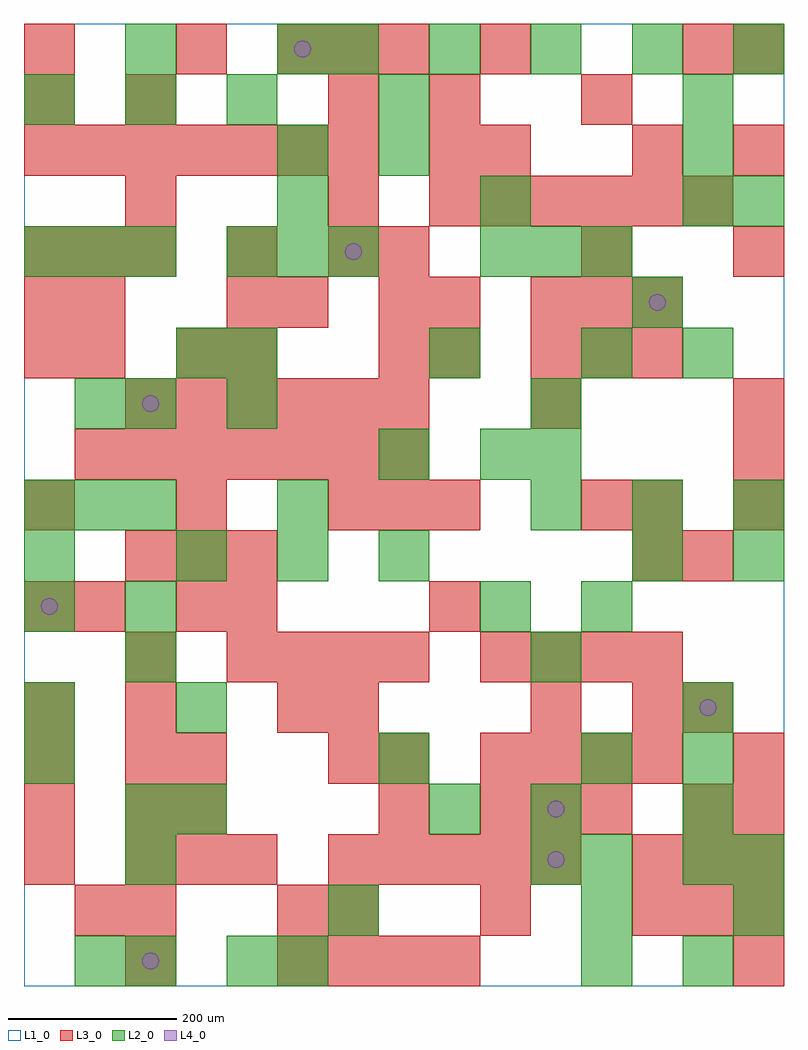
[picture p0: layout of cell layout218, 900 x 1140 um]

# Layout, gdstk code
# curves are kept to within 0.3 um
import gdstk
lib = gdstk.Library(unit=1e-6, precision=1e-09)
def R(c, l, rs):  # rectangles x0, y0, x1, y1
    for r in rs: c.add(gdstk.rectangle(r[:2], r[2:], *l))
def A(c, l, x, y, w, h, nx, ny, dx, dy):  # array of equal rectangles
    R(c, l, [(x+i*dx, y+j*dy, x+i*dx+w, y+j*dy+h) for i in range(nx) for j in range(ny)])
def P(c, l, *ps):  # polygons
    for p in ps: c.add(gdstk.Polygon(p, *l))
L1_0 = (1, 0)
L2_0 = (2, 0)
L3_0 = (3, 0)
L4_0 = (4, 0)

layout218 = lib.new_cell('layout218')
R(layout218, L1_0, [(0,0,900,1140)])
A(layout218, L2_0, 660, 0, 60, 60, 1, 3, 0, 60)
A(layout218, L2_0, 780, 120, 60, 60, 1, 4, 0, 60)
A(layout218, L2_0, 420, 240, 60, 60, 1, 3, 0, 360)
A(layout218, L2_0, 180, 480, 60, 60, 3, 1, 120, 0)
A(layout218, L2_0, 0, 540, 60, 60, 3, 2, 60, 300)
A(layout218, L2_0, 600, 540, 60, 60, 3, 1, 120, 0)
A(layout218, L2_0, 240, 840, 60, 60, 3, 1, 60, 0)
A(layout218, L2_0, 540, 840, 60, 60, 3, 1, 60, 0)
A(layout218, L2_0, 300, 900, 60, 60, 3, 1, 240, 0)
A(layout218, L2_0, 0, 1020, 60, 60, 3, 1, 120, 0)
A(layout218, L2_0, 360, 1080, 60, 60, 5, 1, 120, 0)
R(layout218, L2_0, [(60,0,120,60), (120,0,180,60), (240,0,300,60), (300,0,360,60), (780,0,840,60), (360,60,420,120), (840,60,900,120), (120,120,180,180), (600,120,660,180), (840,120,900,180), (120,180,180,240), (180,180,240,240), (480,180,540,240), (600,180,660,240), (0,240,60,300), (660,240,720,300), (0,300,60,360), (180,300,240,360), (120,360,180,420), (600,360,660,420), (0,420,60,480), (120,420,180,480), (540,420,600,480), (660,420,720,480), (0,480,60,540), (720,480,780,540), (840,480,900,540), (300,540,360,600), (540,600,600,660), (600,600,660,660), (60,660,120,720), (120,660,180,720), (240,660,300,720), (600,660,660,720), (180,720,240,780), (240,720,300,780), (480,720,540,780), (660,720,720,780), (780,720,840,780), (720,780,780,840), (840,900,900,960), (300,960,360,1020), (780,960,840,1020), (420,1020,480,1080), (780,1020,840,1080), (120,1080,180,1140), (300,1080,360,1140)])
A(layout218, L3_0, 300, 0, 60, 60, 4, 1, 60, 0)
A(layout218, L3_0, 360, 60, 60, 60, 3, 1, 180, 0)
A(layout218, L3_0, 780, 60, 60, 60, 1, 3, 0, 120)
A(layout218, L3_0, 0, 120, 60, 60, 1, 4, 0, 60)
A(layout218, L3_0, 120, 120, 60, 60, 3, 2, 60, 360)
A(layout218, L3_0, 360, 120, 60, 60, 5, 1, 60, 0)
A(layout218, L3_0, 720, 120, 60, 60, 3, 1, 60, 0)
A(layout218, L3_0, 120, 180, 60, 60, 1, 4, 0, 60)
A(layout218, L3_0, 540, 180, 60, 60, 3, 1, 60, 0)
A(layout218, L3_0, 540, 240, 60, 60, 4, 2, 60, 120)
A(layout218, L3_0, 240, 360, 60, 60, 4, 1, 60, 0)
A(layout218, L3_0, 0, 540, 60, 60, 3, 1, 180, 0)
A(layout218, L3_0, 840, 540, 60, 60, 1, 3, 0, 60)
A(layout218, L3_0, 60, 600, 60, 60, 7, 1, 60, 0)
A(layout218, L3_0, 120, 660, 60, 60, 6, 1, 60, 0)
A(layout218, L3_0, 240, 720, 60, 60, 1, 3, 0, 60)
A(layout218, L3_0, 420, 720, 60, 60, 1, 3, 0, 60)
A(layout218, L3_0, 600, 720, 60, 60, 3, 2, 60, 60)
A(layout218, L3_0, 0, 840, 60, 60, 3, 1, 60, 0)
A(layout218, L3_0, 840, 840, 60, 60, 1, 3, 0, 120)
A(layout218, L3_0, 480, 900, 60, 60, 6, 1, 60, 0)
A(layout218, L3_0, 0, 960, 60, 60, 7, 1, 60, 0)
A(layout218, L3_0, 300, 1080, 60, 60, 3, 1, 60, 0)
R(layout218, L3_0, [(120,0,180,60), (840,0,900,60), (60,60,120,120), (120,60,180,120), (300,60,360,120), (840,60,900,120), (180,180,240,240), (420,180,480,240), (840,180,900,240), (180,240,240,300), (360,240,420,300), (420,240,480,300), (840,240,900,300), (300,300,360,360), (360,300,420,360), (600,300,660,360), (720,300,780,360), (0,420,60,480), (60,420,120,480), (180,420,240,480), (240,420,300,480), (480,420,540,480), (720,480,780,540), (780,480,840,540), (420,540,480,600), (480,540,540,600), (660,540,720,600), (720,540,780,600), (600,660,660,720), (0,720,60,780), (60,720,120,780), (180,720,240,780), (480,720,540,780), (0,780,60,840), (60,780,120,840), (300,780,360,840), (480,780,540,840), (360,840,420,900), (660,840,720,900), (120,900,180,960), (360,900,420,960), (480,960,540,1020), (540,960,600,1020), (720,960,780,1020), (0,1020,60,1080), (120,1020,180,1080), (360,1020,420,1080), (480,1020,540,1080), (660,1020,720,1080), (0,1080,60,1140), (180,1080,240,1140), (540,1080,600,1140), (780,1080,840,1140)])
P(layout218, L4_0, [(40,450),(39.239,453.827),(37.071,457.071),(33.827,459.239),(30,460),(26.173,459.239),(22.929,457.071),(20.761,453.827),(20,450),(20.761,446.173),(22.929,442.929),(26.173,440.761),(30,440),(33.827,440.761),(37.071,442.929),(39.239,446.173)],
  [(160,30),(159.239,33.827),(157.071,37.071),(153.827,39.239),(150,40),(146.173,39.239),(142.929,37.071),(140.761,33.827),(140,30),(140.761,26.173),(142.929,22.929),(146.173,20.761),(150,20),(153.827,20.761),(157.071,22.929),(159.239,26.173)],
  [(160,690),(159.239,693.827),(157.071,697.071),(153.827,699.239),(150,700),(146.173,699.239),(142.929,697.071),(140.761,693.827),(140,690),(140.761,686.173),(142.929,682.929),(146.173,680.761),(150,680),(153.827,680.761),(157.071,682.929),(159.239,686.173)],
  [(340,1110),(339.239,1113.827),(337.071,1117.071),(333.827,1119.239),(330,1120),(326.173,1119.239),(322.929,1117.071),(320.761,1113.827),(320,1110),(320.761,1106.173),(322.929,1102.929),(326.173,1100.761),(330,1100),(333.827,1100.761),(337.071,1102.929),(339.239,1106.173)],
  [(400,870),(399.239,873.827),(397.071,877.071),(393.827,879.239),(390,880),(386.173,879.239),(382.929,877.071),(380.761,873.827),(380,870),(380.761,866.173),(382.929,862.929),(386.173,860.761),(390,860),(393.827,860.761),(397.071,862.929),(399.239,866.173)],
  [(640,150),(639.239,153.827),(637.071,157.071),(633.827,159.239),(630,160),(626.173,159.239),(622.929,157.071),(620.761,153.827),(620,150),(620.761,146.173),(622.929,142.929),(626.173,140.761),(630,140),(633.827,140.761),(637.071,142.929),(639.239,146.173)],
  [(640,210),(639.239,213.827),(637.071,217.071),(633.827,219.239),(630,220),(626.173,219.239),(622.929,217.071),(620.761,213.827),(620,210),(620.761,206.173),(622.929,202.929),(626.173,200.761),(630,200),(633.827,200.761),(637.071,202.929),(639.239,206.173)],
  [(760,810),(759.239,813.827),(757.071,817.071),(753.827,819.239),(750,820),(746.173,819.239),(742.929,817.071),(740.761,813.827),(740,810),(740.761,806.173),(742.929,802.929),(746.173,800.761),(750,800),(753.827,800.761),(757.071,802.929),(759.239,806.173)],
  [(820,330),(819.239,333.827),(817.071,337.071),(813.827,339.239),(810,340),(806.173,339.239),(802.929,337.071),(800.761,333.827),(800,330),(800.761,326.173),(802.929,322.929),(806.173,320.761),(810,320),(813.827,320.761),(817.071,322.929),(819.239,326.173)])

lib.write_gds('layout218.gds')
